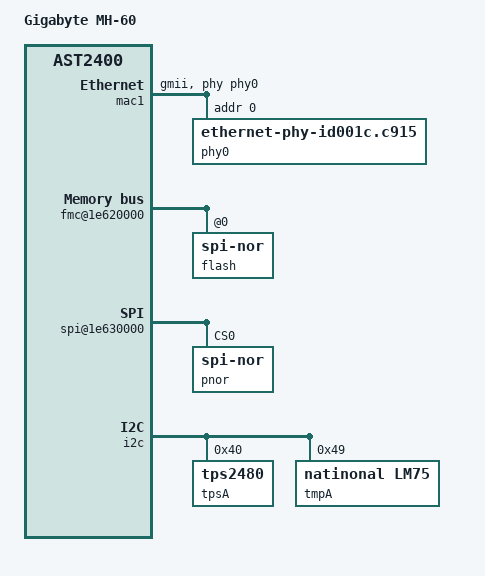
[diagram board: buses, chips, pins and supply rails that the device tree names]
/dts-v1/;

#include "ast2400.dtsi"
#include <dt-bindings/gpio/gpio.h>

/ {
	model = "Gigabyte MH-60";
	compatible = "gb,rmc21", "aspeed,ast2400";

	ahb {
/*
		mdio {
			#address-cells = <1>;
			#size-cells = <0>;
			device_type = "mdio";
			status = "okay";
			phy0: phy@0 {
				device_type = "ethernet-phy";
				compatible = "ethernet-phy-id001c.c915";
				reg = <0x0>;
			};
		};
*/
		mac0: ethernet@1e660000 {
			use-nc-si;
			no-hw-checksum;
		};

		mac1: ethernet@1e680000 {
			compatible = "faraday,ftgmac100", "aspeed,ast2400-mac";
			reg = <0x1e680000 0x180>;
			interrupts = <3>;
			phy-handle = <&phy0>;
			phy-mode = "gmii";
			no-hw-checksum;

			phy0: phy@0 {
				compatible = "ethernet-phy-id001c.c915",
					     "ethernet-phy-ieee802.3-c22";
				reg = <0x0>;
			};
		};

		fmc@1e620000 {
			reg = < 0x1e620000 0x94
				0x20000000 0x02000000 >;
			#address-cells = <1>;
			#size-cells = <0>;
			compatible = "aspeed,fmc";
			flash@0 {
				reg = < 0 >;
				compatible = "jedec,spi-nor" ;
				/*
				 * Possibly required props:
				 * spi-max-frequency = <>
				 * spi-tx-bus-width = <>
				 * spi-rx-bus-width  = <>
				 * m25p,fast-read
				 * spi-cpol if inverse clock polarity (CPOL)
				 * spi-cpha if shifted clock phase (CPHA)
				 */
			};
		};
		spi@1e630000 {
			reg = < 0x1e630000 0x18
				0x30000000 0x02000000 >;
			#address-cells = <1>;
			#size-cells = <0>;
			compatible = "aspeed,smc";
			flash {
				reg = < 0 >;
				compatible = "jedec,spi-nor" ;
				label = "pnor";
				/* spi-max-frequency = <>; */
				/* m25p,fast-read; */
			};
		};

		apb {
			i2c: i2c@1e78a040 {
				i2c0: i2c-bus@40 {
					tpsA@40 {
						compatible = "tps2480";
						reg = <0x40>;
						shunt = <5>;
					};
					tmpA@49 {
						compatible = "natinonal,lm75";
						reg = <0x49>;
					};
				};
			};
		};
	};
};
